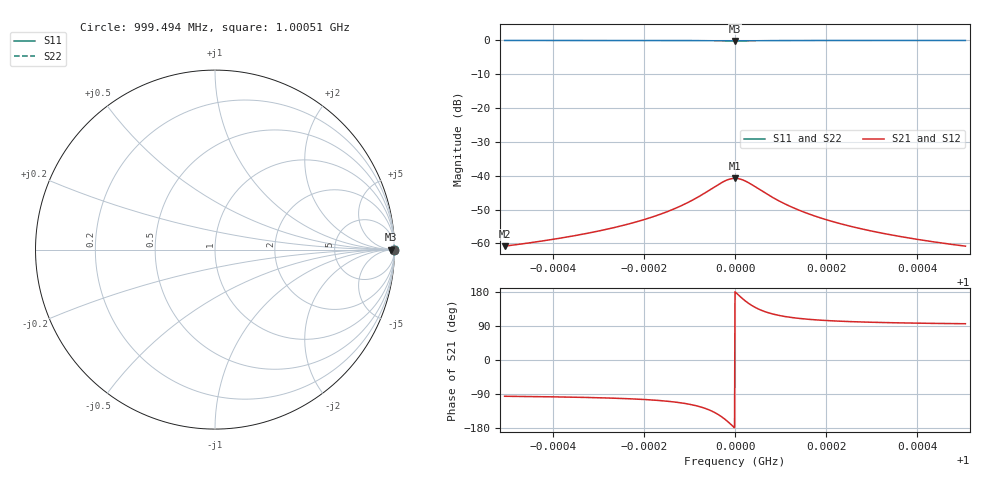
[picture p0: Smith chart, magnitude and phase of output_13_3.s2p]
! File generated for n1 = 13, n2 = 3
! b1 = 0.010000
! b2 = 0.002154
! Q0 = 10000.000000
! f0 = 1000000000.000000
! n = 1001
! rel_span = 10.000000
# Hz S RI R 50
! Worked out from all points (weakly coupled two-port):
!   1001 points, 999.494 MHz to 1.00051 GHz, reference 50 ohm
!   highest |S21| = -40.75 dB at 1 GHz (marker M1); lowest = -60.8 dB at 999.494 MHz (marker M2)
!   lowest |S11| = -0.2 dB at 1 GHz (marker M3), VSWR 100.22, Z = 5.01e+03 + j0 ohm
!   |S11| at or under -10 dB: nowhere
!   |S22| runs from 0.0 to 0.0 dB; largest |S21 - S12| = 0
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9.994939e8  0.9998 -0.00196  -9.08e-05 -0.000908  -9.08e-05 -0.000908  1 -0.000421
9.99581e8  0.9997 -0.00235  -0.000132 -0.00109  -0.000132 -0.00109  0.9999 -0.000507
9.99663e8  0.9996 -0.0029  -0.000202 -0.00135  -0.000202 -0.00135  0.9999 -0.000625
9.997561e8  0.9992 -0.00393  -0.000378 -0.00182  -0.000378 -0.00182  0.9998 -0.000847
9.997955e8  0.9989 -0.00461  -0.000529 -0.00214  -0.000529 -0.00214  0.9998 -0.000993
9.99832e8  0.9984 -0.00546  -0.000763 -0.00253  -0.000763 -0.00253  0.9996 -0.00118
9.998674e8  0.9975 -0.00658  -0.00117 -0.00306  -0.00117 -0.00306  0.9995 -0.00142
9.998988e8  0.996 -0.0079  -0.00183 -0.00367  -0.00183 -0.00367  0.9991 -0.0017
9.999231e8  0.994 -0.00907  -0.00277 -0.00421  -0.00277 -0.00421  0.9987 -0.00195
9.999767e8  0.9837 -0.0075  -0.00757 -0.00348  -0.00757 -0.00348  0.9965 -0.00162
9.999889e8  0.9812 -0.00415  -0.00875 -0.00192  -0.00875 -0.00192  0.9959 -0.000893
1e9  0.9802 0  -0.00917 0  -0.00917 0  0.9957 0
1.000011e9  0.9812 0.00415  -0.00875 0.00192  -0.00875 0.00192  0.9959 0.000893
1.000023e9  0.9837 0.0075  -0.00757 0.00348  -0.00757 0.00348  0.9965 0.00162
1.000077e9  0.994 0.00907  -0.00277 0.00421  -0.00277 0.00421  0.9987 0.00195
1.000101e9  0.996 0.0079  -0.00183 0.00367  -0.00183 0.00367  0.9991 0.0017
1.000134e9  0.9975 0.00655  -0.00115 0.00304  -0.00115 0.00304  0.9995 0.00141
1.000169e9  0.9984 0.00543  -0.000755 0.00252  -0.000755 0.00252  0.9996 0.00117
1.000245e9  0.9992 0.00392  -0.000376 0.00182  -0.000376 0.00182  0.9998 0.000844
1.000338e9  0.9996 0.00289  -0.000201 0.00134  -0.000201 0.00134  0.9999 0.000623
1.00042e9  0.9997 0.00235  -0.000131 0.00109  -0.000131 0.00109  0.9999 0.000506
1.000506e9  0.9998 0.00196  -9.09e-05 0.000908  -9.09e-05 0.000908  1 0.000422
